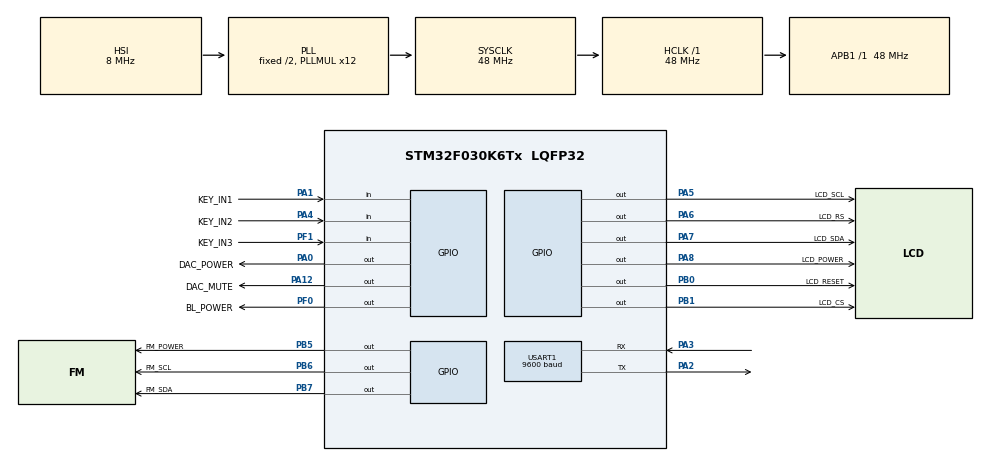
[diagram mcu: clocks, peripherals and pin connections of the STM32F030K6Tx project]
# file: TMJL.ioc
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IWDG.Prescaler=IWDG_PRESCALER_16
Mcu.Family=STM32F0
Mcu.Name=STM32F030K6Tx
Mcu.Package=LQFP32
NVIC.TIM14_IRQn=true\:2\:0\:true\:false\:true\:true\:true
NVIC.TIM16_IRQn=true\:3\:0\:true\:false\:true\:true\:true
NVIC.USART1_IRQn=true\:1\:0\:true\:false\:true\:true\:true
PA0.GPIO_Label=DAC_POWER
PA0.GPIO_ModeDefaultOutputPP=GPIO_MODE_OUTPUT_PP
PA0.PinState=GPIO_PIN_SET
PA0.Signal=GPIO_Output
PA1.GPIO_Label=KEY_IN1
PA1.GPIO_PuPd=GPIO_PULLUP
PA1.Signal=GPIO_Input
PA12.GPIO_Label=DAC_MUTE
PA12.Signal=GPIO_Output
PA13.Mode=Serial_Wire
PA13.Signal=SYS_SWDIO
PA14.Mode=Serial_Wire
PA14.Signal=SYS_SWCLK
PA2.Mode=Asynchronous
PA2.Signal=USART1_TX
PA3.Mode=Asynchronous
PA3.Signal=USART1_RX
PA4.GPIO_Label=KEY_IN2
PA4.GPIO_PuPd=GPIO_PULLUP
PA4.Signal=GPIO_Input
PA5.GPIO_Label=LCD_SCL
PA5.GPIO_ModeDefaultOutputPP=GPIO_MODE_OUTPUT_PP
PA5.PinState=GPIO_PIN_RESET
PA5.Signal=GPIO_Output
PA6.GPIO_Label=LCD_RS
PA6.GPIO_ModeDefaultOutputPP=GPIO_MODE_OUTPUT_PP
PA6.PinState=GPIO_PIN_RESET
PA6.Signal=GPIO_Output
PA7.GPIO_Label=LCD_SDA
PA7.Signal=GPIO_Output
PA8.GPIO_Label=LCD_POWER
PA8.PinState=GPIO_PIN_SET
PA8.Signal=GPIO_Output
PB0.GPIO_Label=LCD_RESET
PB0.Signal=GPIO_Output
PB1.GPIO_Label=LCD_CS
PB1.Signal=GPIO_Output
PB5.GPIO_Label=FM_POWER
PB5.PinState=GPIO_PIN_SET
PB5.Signal=GPIO_Output
PB6.GPIO_Label=FM_SCL
PB6.GPIO_ModeDefaultOutputPP=GPIO_MODE_OUTPUT_OD
PB6.PinState=GPIO_PIN_SET
PB6.Signal=GPIO_Output
PB7.GPIO_FM7=__NULL
PB7.GPIO_Label=FM_SDA
PB7.GPIO_ModeDefaultOutputPP=GPIO_MODE_OUTPUT_OD
PB7.GPIO_PuPd=GPIO_NOPULL
PB7.GPIO_Speed=GPIO_SPEED_FREQ_MEDIUM
PB7.PinState=GPIO_PIN_SET
PB7.Signal=GPIO_Output
PF0-OSC_IN.GPIO_Label=BL_POWER
PF0-OSC_IN.GPIO_ModeDefaultOutputPP=GPIO_MODE_OUTPUT_OD
PF0-OSC_IN.PinState=GPIO_PIN_SET
PF0-OSC_IN.Signal=GPIO_Output
PF1-OSC_OUT.GPIO_Label=KEY_IN3
PF1-OSC_OUT.GPIO_PuPd=GPIO_PULLUP
PF1-OSC_OUT.Signal=GPIO_Input
ProjectManager.HeapSize=0x200
ProjectManager.StackSize=0x400
ProjectManager.TargetToolchain=TrueSTUDIO
RCC.AHBFreq_Value=48000000
RCC.APB1Freq_Value=48000000
RCC.APB1TimFreq_Value=48000000
RCC.HCLKFreq_Value=48000000
RCC.PLLMUL=RCC_PLL_MUL12
RCC.RCC_MCODiv=RCC_MCODIV_4
RCC.SYSCLKFreq_VALUE=48000000
RCC.SYSCLKSource=RCC_SYSCLKSOURCE_PLLCLK
TIM14.Period=50-1
TIM14.Prescaler=960-1
TIM16.Period=500-1
TIM16.Prescaler=960-1
USART1.BaudRate=9600
USART1.VirtualMode-Asynchronous=VM_ASYNC
VP_IWDG_VS_IWDG.Mode=IWDG_Activate
VP_TIM14_VS_ClockSourceINT.Mode=Enable_Timer
VP_TIM16_VS_ClockSourceINT.Mode=Enable_Timer
board=custom

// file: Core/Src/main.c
/* USER CODE BEGIN Header */
/**
  ******************************************************************************
  * @file           : main.c
  * @brief          : Main program body
  ******************************************************************************
  * @attention
  *
  * <h2><center>&copy; Copyright (c) 2019 STMicroelectronics.
  * All rights reserved.</center></h2>
  *
  * This software component is licensed by ST under BSD 3-Clause license,
  * the "License"; You may not use this file except in compliance with the
  * License. You may obtain a copy of the License at:
  *                        opensource.org/licenses/BSD-3-Clause
  *
  ******************************************************************************
  */
/* USER CODE END Header */

#include "main.h"
#include "iwdg.h"
#include "tim.h"
#include "usart.h"
#include "gpio.h"

/* USER CODE BEGIN Includes */
#include "control_main.h"
#include "key_handle.h"
#include "control_bl.h"
/* USER CODE END Includes */

/* USER CODE BEGIN PV */
volatile  uint8_t  ucTimestamp_ms=0;   /* 系统运行时间戳  */
/* USER CODE END PV */

void SystemClock_Config(void);

int main(void)
{

  /* MCU Configuration--------------------------------------------------------*/

  /* Reset of all peripherals, Initializes the Flash interface and the Systick. */
  HAL_Init();

  /* Configure the system clock */
  SystemClock_Config();

  /* Initialize all configured peripherals */
  MX_GPIO_Init();
  MX_TIM14_Init();
  MX_TIM16_Init();
  MX_USART1_UART_Init();
  MX_IWDG_Init();
  /* USER CODE BEGIN 2 */
  //启动定时器中断
   if(HAL_TIM_Base_Start_IT(&htim14) != HAL_OK){
      while(1);
   }
   if(HAL_TIM_Base_Start_IT(&htim16) != HAL_OK){
      while(1);
   }
   task_control_power_on_function();
  /* USER CODE END 2 */

  /* Infinite loop */
  while (1)
  {

    /* USER CODE BEGIN 3 */
	  task_control_main_function();
	  MX_IWDG_Refresh();
	  while(ucTimestamp_ms<10);
	  ucTimestamp_ms=0;
  }
  /* USER CODE END 3 */
}

void SystemClock_Config(void)
{
  RCC_OscInitTypeDef RCC_OscInitStruct = {0};
  RCC_ClkInitTypeDef RCC_ClkInitStruct = {0};
  RCC_PeriphCLKInitTypeDef PeriphClkInit = {0};

  /** Initializes the CPU, AHB and APB busses clocks
  */
  RCC_OscInitStruct.OscillatorType = RCC_OSCILLATORTYPE_HSI|RCC_OSCILLATORTYPE_LSI;
  RCC_OscInitStruct.HSIState = RCC_HSI_ON;
  RCC_OscInitStruct.HSICalibrationValue = RCC_HSICALIBRATION_DEFAULT;
  RCC_OscInitStruct.LSIState = RCC_LSI_ON;
  RCC_OscInitStruct.PLL.PLLState = RCC_PLL_ON;
  RCC_OscInitStruct.PLL.PLLSource = RCC_PLLSOURCE_HSI;
  RCC_OscInitStruct.PLL.PLLMUL = RCC_PLL_MUL12;
  RCC_OscInitStruct.PLL.PREDIV = RCC_PREDIV_DIV1;
  if (HAL_RCC_OscConfig(&RCC_OscInitStruct) != HAL_OK)
  {
    Error_Handler();
  }
  /** Initializes the CPU, AHB and APB busses clocks
  */
  RCC_ClkInitStruct.ClockType = RCC_CLOCKTYPE_HCLK|RCC_CLOCKTYPE_SYSCLK
                              |RCC_CLOCKTYPE_PCLK1;
  RCC_ClkInitStruct.SYSCLKSource = RCC_SYSCLKSOURCE_PLLCLK;
  RCC_ClkInitStruct.AHBCLKDivider = RCC_SYSCLK_DIV1;
  RCC_ClkInitStruct.APB1CLKDivider = RCC_HCLK_DIV1;

  if (HAL_RCC_ClockConfig(&RCC_ClkInitStruct, FLASH_LATENCY_1) != HAL_OK)
  {
    Error_Handler();
  }
  PeriphClkInit.PeriphClockSelection = RCC_PERIPHCLK_USART1;
  PeriphClkInit.Usart1ClockSelection = RCC_USART1CLKSOURCE_PCLK1;
  if (HAL_RCCEx_PeriphCLKConfig(&PeriphClkInit) != HAL_OK)
  {
    Error_Handler();
  }
}

/* USER CODE BEGIN 4 */
/********************************
 * 函数名：HAL_TIM_PeriodElapsedCallback
 * 说明:  定时器中断回调函数
 ********************************/
void HAL_TIM_PeriodElapsedCallback(TIM_HandleTypeDef *htim)
{
	if(htim == &htim14){//1ms
		ucTimestamp_ms++;
		UART_RxTime();
	}else if(htim == &htim16){//10ms
		ISR_key_handle_function();
	}
}
/* USER CODE END 4 */

void Error_Handler(void)
{
}

/************************ (C) COPYRIGHT STMicroelectronics *****END OF FILE****/
